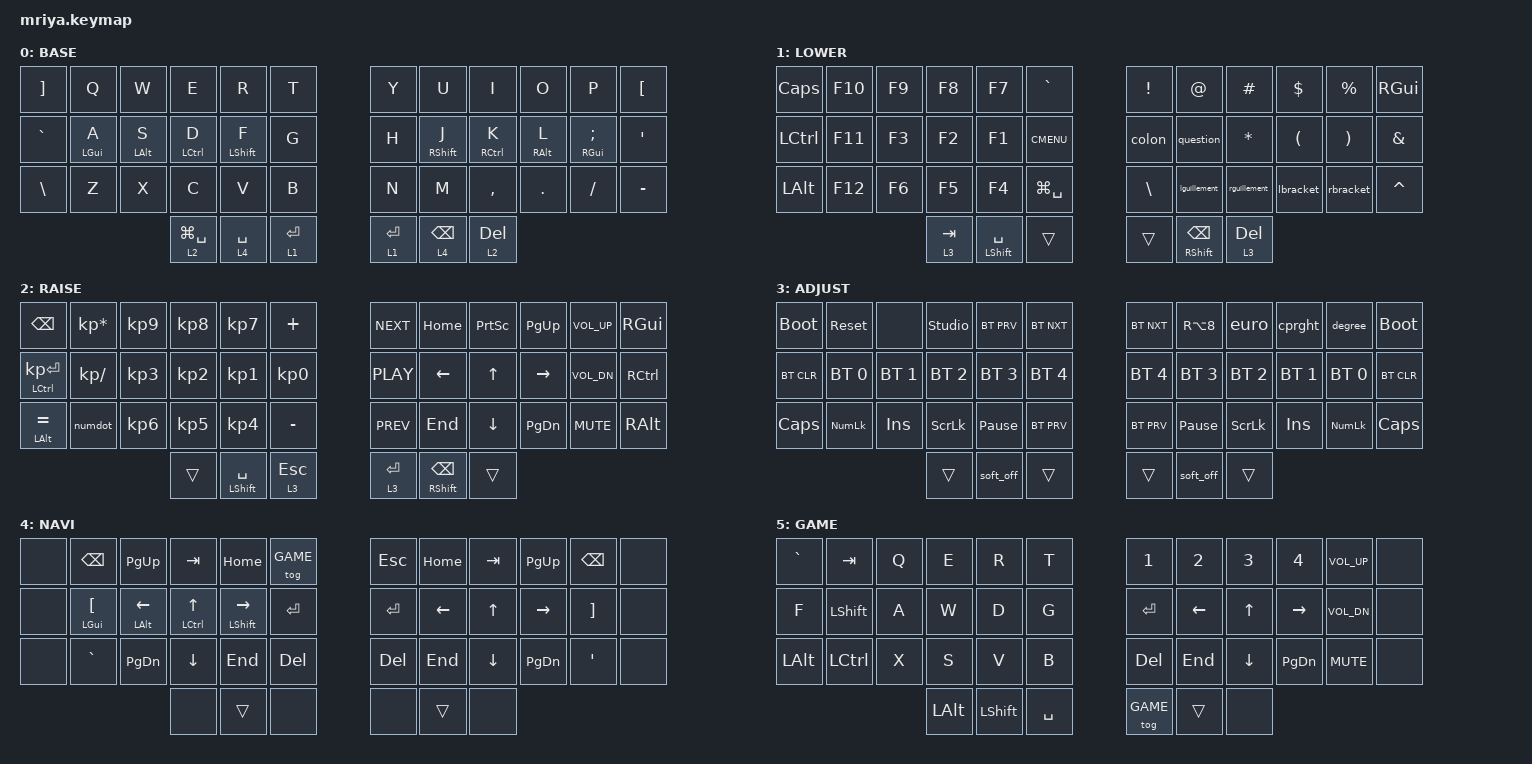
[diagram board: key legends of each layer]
/*
 * Copyright (c) 2020 The ZMK Contributors
 *
 * SPDX-License-Identifier: MIT
 */

#include <behaviors.dtsi>
#include <dt-bindings/zmk/keys.h>
#include <dt-bindings/zmk/bt.h>
#include <dt-bindings/zmk/ext_power.h>

#define BASE   0
#define LOWER  1
#define RAISE  2
#define ADJUST 3
#define NAVI   4
#define GAME   5

&lt {
    flavor = "balanced";
    tapping-term-ms = <220>;
    quick-tap-ms = <175>;
};

&mt {
    flavor = "balanced";
    tapping-term-ms = <280>;
    quick-tap-ms = <175>;
};
/ {
    macros {
        numdot: numdot {
            label = "ZM_numdot";
            compatible = "zmk,behavior-macro";
            #binding-cells = <0>;
            wait-ms = <40>;
            tap-ms = <40>;
            bindings =
                <&macro_press>,
                <&kp LALT>,
                <&macro_tap>,
                <&kp KP_N4 &kp KP_N6>,
                <&macro_release>,
                <&kp LALT>;
        };
        grtsgn: grtsgn {
            label = "ZM_grtsgn";
            compatible = "zmk,behavior-macro";
            #binding-cells = <0>;
            wait-ms = <40>;
            tap-ms = <40>;
            bindings =
                <&macro_press>,
                <&kp LALT>,
                <&macro_tap>,
                <&kp KP_N6 &kp KP_N2>,
                <&macro_release>,
                <&kp LALT>;
        };
          cprght: cprght {
            label = "ZM_cprght";
            compatible = "zmk,behavior-macro";
            #binding-cells = <0>;
            wait-ms = <40>;
            tap-ms = <40>;
            bindings =
                <&macro_press>,
                <&kp LALT>,
                <&macro_tap>,
                <&kp KP_N0 &kp KP_N1 &kp KP_N6 &kp KP_N9>,
                <&macro_release>,
                <&kp LALT>;
        };
        degree: degree {
            label = "ZM_degree";
            compatible = "zmk,behavior-macro";
            #binding-cells = <0>;
            wait-ms = <40>;
            tap-ms = <40>;
            bindings =
                <&macro_press>,
                <&kp LALT>,
                <&macro_tap>,
                <&kp KP_N0 &kp KP_N1 &kp KP_N7 &kp KP_N6>,
                <&macro_release>,
                <&kp LALT>;
        };
        quote: quote {
            label = "ZM_quote";
            compatible = "zmk,behavior-macro";
            #binding-cells = <0>;
            wait-ms = <40>;
            tap-ms = <40>;
            bindings =
                <&macro_press>,
                <&kp LALT>,
                <&macro_tap>,
                <&kp KP_N3 &kp KP_N4>,
                <&macro_release>,
                <&kp LALT>;
        };
	euro: euro {
            label = "ZM_euro";
            compatible = "zmk,behavior-macro";
            #binding-cells = <0>;
            wait-ms = <40>;
            tap-ms = <40>;
            bindings =
                <&macro_press>,
                <&kp LALT>,
                <&macro_tap>,
                <&kp KP_N0 &kp KP_N1 &kp KP_N2 &kp KP_N8>,
                <&macro_release>,
                <&kp LALT>;
	    };
	numcomma: numcomma {
            label = "ZM_numcomma";
            compatible = "zmk,behavior-macro";
            #binding-cells = <0>;
            wait-ms = <40>;
            tap-ms = <40>;
            bindings =
                <&macro_press>,
                <&kp LALT>,
                <&macro_tap>,
                <&kp KP_N4 &kp KP_N4>,
                <&macro_release>,
                <&kp LALT>;
	    };
	lguillement: lguillement {
            label = "ZM_lguillement";
            compatible = "zmk,behavior-macro";
            #binding-cells = <0>;
            wait-ms = <40>;
            tap-ms = <40>;
            bindings =
                <&macro_press>,
                <&kp LALT>,
                <&macro_tap>,
                <&kp KP_N0 &kp KP_N1 &kp KP_N7 &kp KP_N1>,
                <&macro_release>,
                <&kp LALT>;
	    };
	rguillement: rguillement {
            label = "ZM_rguillement";
            compatible = "zmk,behavior-macro";
            #binding-cells = <0>;
            wait-ms = <40>;
            tap-ms = <40>;
            bindings =
                <&macro_press>,
                <&kp LALT>,
                <&macro_tap>,
                <&kp KP_N0 &kp KP_N1 &kp KP_N8 &kp KP_N7>,
                <&macro_release>,
                <&kp LALT>;
	    };
	lbracket: lbracket {
            label = "ZM_lbracket";
            compatible = "zmk,behavior-macro";
            #binding-cells = <0>;
            wait-ms = <40>;
            tap-ms = <40>;
            bindings =
                <&macro_press>,
                <&kp LALT>,
                <&macro_tap>,
                <&kp KP_N1 &kp KP_N2 &kp KP_N3>,
                <&macro_release>,
                <&kp LALT>;
	    };
	rbracket: rbracket {
            label = "ZM_rbracket";
            compatible = "zmk,behavior-macro";
            #binding-cells = <0>;
            wait-ms = <40>;
            tap-ms = <40>;
            bindings =
                <&macro_press>,
                <&kp LALT>,
                <&macro_tap>,
                <&kp KP_N1 &kp KP_N2 &kp KP_N5>,
                <&macro_release>,
                <&kp LALT>;
	    };
	colon: colon {
            label = "ZM_colon";
            compatible = "zmk,behavior-macro";
            #binding-cells = <0>;
            wait-ms = <40>;
            tap-ms = <40>;
            bindings =
                <&macro_press>,
                <&kp LALT>,
                <&macro_tap>,
                <&kp KP_N5 &kp KP_N8>,
                <&macro_release>,
                <&kp LALT>;
	    };
	semicolon: semicolon {
            label = "ZM_semicolon";
            compatible = "zmk,behavior-macro";
            #binding-cells = <0>;
            wait-ms = <40>;
            tap-ms = <40>;
            bindings =
                <&macro_press>,
                <&kp LALT>,
                <&macro_tap>,
                <&kp KP_N5 &kp KP_N9>,
                <&macro_release>,
                <&kp LALT>;
	    };
	question: question {
            label = "ZM_question";
            compatible = "zmk,behavior-macro";
            #binding-cells = <0>;
            wait-ms = <40>;
            tap-ms = <40>;
            bindings =
                <&macro_press>,
                <&kp LALT>,
                <&macro_tap>,
                <&kp KP_N6 &kp KP_N3>,
                <&macro_release>,
                <&kp LALT>;
	    };
         lsqbracket: lsqbracket {
            label = "ZM_lsqbracket";
            compatible = "zmk,behavior-macro";
            #binding-cells = <0>;
            wait-ms = <40>;
            tap-ms = <40>;
            bindings =
                <&macro_press>,
                <&kp LALT>,
                <&macro_tap>,
                <&kp KP_N9 &kp KP_N1>,
                <&macro_release>,
                <&kp LALT>;
	    };
         rsqbracket: rsqbracket {
            label = "ZM_rsqbracket";
            compatible = "zmk,behavior-macro";
            #binding-cells = <0>;
            wait-ms = <40>;
            tap-ms = <40>;
            bindings =
                <&macro_press>,
                <&kp LALT>,
                <&macro_tap>,
                <&kp KP_N9 &kp KP_N3>,
                <&macro_release>,
                <&kp LALT>;
	    };
    };
};

/ {
    combos {
            compatible = "zmk,combos";
            combo_grave {
                timeout-ms = <50>;
                key-positions = <4 5>;
                bindings = <&kp GRAVE>;
        };
            combo_esc_right {
                timeout-ms = <50>;
                key-positions = <31 32>;
                bindings = <&kp ESC>;
        };
            combo_comma {
                timeout-ms = <50>;
                key-positions = <15 16>;
                bindings = <&numcomma>;
        };
            combo_dot {
                timeout-ms = <50>;
                key-positions = <19 20>;
                bindings = <&numdot>;
        };
            combo_esc_left {
                timeout-ms = <50>;
                key-positions = <27 28>;
                bindings = <&kp ESC>;
        };
            combo_equal {
                timeout-ms = <50>;
                key-positions = <3 4>;
                bindings = <&kp EQUAL>;
        };
            combo_lsqbracket {
                timeout-ms = <50>;
                key-positions = <20 21>;
                bindings = <&lsqbracket>;
        };
            combo_rsqbracket {
                timeout-ms = <50>;
                key-positions = <32 33>;
                bindings = <&rsqbracket>;
        };
            combo_numcomma {
                timeout-ms = <50>;
                key-positions = <31 32>;
                bindings = <&numcomma>;
        };
            combo_copy {
                timeout-ms = <50>;
                key-positions = <26 27>;
                bindings = <&kp LC(C)>;
        }; 
            combo_cut {
                timeout-ms = <50>;
                key-positions = <2 3>;
                bindings = <&kp LC(X)>;
        };
            combo_paste {
                timeout-ms = <50>;
                key-positions = <14 15>;
                bindings = <&kp LC(V)>;
        };     
    };
};

/ {
    keymap {
        compatible = "zmk,keymap";
		
// ▄▄▄▄▄▄▄▄▄▄▄▄▄▄▄▄▄▄▄▄▄▄▄▄▄▄▄▄▄▄▄▄▄▄▄▄▄▄▄▄▄▄▄▄▄▄▄▄▄▄▄▄▄▄▄▄▄▄▄▄▄▄▄▄▄▄▄▄▄▄▄▄▄▄▄▄▄▄▄▄▄▄▄▄▄▄▄▄▄▄▄▄▄▄▄▄▄▄▄▄▄▄▄▄▄▄▄▄▄▄▄▄▄▄

	
        base_layer {
// ┌────────────────────────────────────────────┐
label= "BASE"                                   ;
// └────────────────────────────────────────────┘
/*
┌───────┬───────┬───────┬───────┬───────┬───────┐                   ┌───────┬───────┬───────┬───────┬───────┬───────┐
│   ]   │   Q   │   W   │   E   │   R   │   T   │                   │   Y   │   U   │   I   │   O   │   P   │   [   │
├───────┼───────┼───────┼───────┼───────┼───────┤                   ├───────┼───────┼───────┼───────┼───────┼───────┤                      
│   `   │   A   │   S   │   D   │   F   │   G   │                   │   H   │   J   │   K   │   L   │   ;   │   '   │
├───────┼───────┼───────┼───────┼───────┼───────┤                   ├───────┼───────┼───────┼───────┼───────┼───────┤
│   \   │ Z/NAV │   X   │   C   │   V   │   B   │                   │   N   │   M   │   ,   │   .   │   /   │   -   │
└───────┴───────┴───────┴───────┼───────┼───────┼───────┐   ┌───────┼───────┼───────┼───────┴───────┴───────┴───────┘
                                │ RAISE │ SPACE │ LOWER │   │ LOWER │  BKSP │ RAISE │
                                └───────┴───────┴───────┘   └───────┴───────┴───────┘   
*/
bindings = <
	
&kp RBKT   &kp Q        &kp W        &kp E   	       &kp R         &kp T       &kp Y  	 &kp U         &kp I         &kp O       &kp P           &kp LBKT     
&kp GRAVE  &mt LGUI A   &mt LALT S   &mt LCTRL D       &mt LSHFT F   &kp G       &kp H       &mt RSHFT J   &mt RCTRL K   &mt RALT L  &mt RGUI SEMI   &kp SQT
&kp BSLH   &kp Z        &kp X        &kp C   	       &kp V         &kp B       &kp N       &kp M         &kp COMMA     &kp DOT     &kp FSLH        &kp MINUS
				                     &lt 2 LG(SPACE)   &lt 4 SPACE   &lt 1 RET   &lt 1 RET   &lt 4 BSPC    &lt 2 DEL   
            >;
        };
		
// ▄▄▄▄▄▄▄▄▄▄▄▄▄▄▄▄▄▄▄▄▄▄▄▄▄▄▄▄▄▄▄▄▄▄▄▄▄▄▄▄▄▄▄▄▄▄▄▄▄▄▄▄▄▄▄▄▄▄▄▄▄▄▄▄▄▄▄▄▄▄▄▄▄▄▄▄▄▄▄▄▄▄▄▄▄▄▄▄▄▄▄▄▄▄▄▄▄▄▄▄▄▄▄▄▄▄▄▄▄▄▄▄▄▄


        lower_layer {
// ┌────────────────────────────────────────────┐
label= "LOWER"                                  ;
// └────────────────────────────────────────────┘
/*
┌───────┬───────┬───────┬───────┬───────┬───────┐                   ┌───────┬───────┬───────┬───────┬───────┬───────┐
│ CAPS  │  F10  │  F9   │  F8   │  F7   │   ~   │                   │   !   │   @   │   #   │   $   │   %   │ RGUI  │
├───────┼───────┼───────┼───────┼───────┼───────┤                   ├───────┼───────┼───────┼───────┼───────┼───────┤                      
│ CTRL  │  F11  │  F3   │  F2   │  F1   │ MENU  │                   │   :   │   ?   │   *   │   (   │   )   │   &   │
├───────┼───────┼───────┼───────┼───────┼───────┤                   ├───────┼───────┼───────┼───────┼───────┼───────┤
│ LALT  │  F12  │  F6   │  F5   │  F4   │ LANG  │                   │   \   │   «   │   »   │   {   │   }   │   ^   │
└───────┴───────┴───────┴───────┼───────┼───────┼───────┐   ┌───────┼───────┼───────┼───────┴───────┴───────┴───────┘
                                │  ADJ  │ LSHFT │   ▼   │   │   ▼   │ RSHFT │  ADJ  │
                                └───────┴───────┴───────┘   └───────┴───────┴───────┘   
*/
bindings = <

&kp CAPS    &kp F10   &kp F9    &kp F8  	&kp F7    	      &kp GRAVE       &kp EXCL   &kp AT           &kp HASH       &kp DOLLAR   &kp PERCENT   &kp RGUI
&kp LCTRL   &kp F11   &kp F3    &kp F2      &kp F1    	      &kp K_CMENU     &colon     &question        &kp STAR       &kp LPAR     &kp RPAR      &kp AMPS
&kp LALT    &kp F12   &kp F6    &kp F5      &kp F4   	      &kp LG(SPACE)   &kp BSLH   &lguillement     &rguillement   &lbracket    &rbracket     &kp CARET
			                    &lt 3 TAB   &mt LSHFT SPACE   &trans   	      &trans     &mt RSHFT BSPC   &lt 3 DEL
            >;
        };
		
// ▄▄▄▄▄▄▄▄▄▄▄▄▄▄▄▄▄▄▄▄▄▄▄▄▄▄▄▄▄▄▄▄▄▄▄▄▄▄▄▄▄▄▄▄▄▄▄▄▄▄▄▄▄▄▄▄▄▄▄▄▄▄▄▄▄▄▄▄▄▄▄▄▄▄▄▄▄▄▄▄▄▄▄▄▄▄▄▄▄▄▄▄▄▄▄▄▄▄▄▄▄▄▄▄▄▄▄▄▄▄▄▄▄▄		

        raise_layer {
// ┌────────────────────────────────────────────┐
label= "RAISE"                                  ;
// └────────────────────────────────────────────┘
/*
┌───────┬───────┬───────┬───────┬───────┬───────┐                   ┌───────┬───────┬───────┬───────┬───────┬───────┐
│ BKSP  │   *   │   9   │   8   │   7   │   +   │                   │ NEXT  │ VOLU  │ PSCRN │       │       │ RGUI  │
├───────┼───────┼───────┼───────┼───────┼───────┤                   ├───────┼───────┼───────┼───────┼───────┼───────┤                      
│ CTRL  │   /   │   3   │   2   │   1   │   0   │                   │ PLAY  │ VOLD  │       │       │       │ CTRL  │
├───────┼───────┼───────┼───────┼───────┼───────┤                   ├───────┼───────┼───────┼───────┼───────┼───────┤
│ ALT/= │   .   │   6   │   5   │   4   │   -   │                   │ PREV  │ MUTE  │       │       │       │ RALT  │
└───────┴───────┴───────┴───────┼───────┼───────┼───────┐   ┌───────┼───────┼───────┼───────┴───────┴───────┴───────┘
                                │   ▲   │ LSHFT │  ADJ  │   │  ADJ  │ RSHFT │   ▲   │
                                └───────┴───────┴───────┘   └───────┴───────┴───────┘  
*/
bindings = <

&kp BSPC             &kp KP_MULTIPLY   &kp KP_N9   &kp KP_N8   &kp KP_N7         &kp PLUS    &kp C_NEXT   &kp HOME         &kp PSCRN   &kp PG_UP   &kp C_VOL_UP   &kp RGUI
&mt LCTRL KP_ENTER   &kp KP_SLASH      &kp KP_N3   &kp KP_N2   &kp KP_N1         &kp KP_N0   &kp C_PLAY   &kp LEFT         &kp UP      &kp RIGHT   &kp C_VOL_DN   &kp RCTRL 
&mt LALT EQUAL       &numdot 	       &kp KP_N6   &kp KP_N5   &kp KP_N4         &kp MINUS   &kp C_PREV   &kp END          &kp DOWN    &kp PG_DN   &kp C_MUTE     &kp RALT
				                                   &trans      &mt LSHFT SPACE   &lt 3 ESC   &lt 3 RET    &mt RSHFT BSPC   &trans
            >;
        };

// ▄▄▄▄▄▄▄▄▄▄▄▄▄▄▄▄▄▄▄▄▄▄▄▄▄▄▄▄▄▄▄▄▄▄▄▄▄▄▄▄▄▄▄▄▄▄▄▄▄▄▄▄▄▄▄▄▄▄▄▄▄▄▄▄▄▄▄▄▄▄▄▄▄▄▄▄▄▄▄▄▄▄▄▄▄▄▄▄▄▄▄▄▄▄▄▄▄▄▄▄▄▄▄▄▄▄▄▄▄▄▄▄▄▄

        adjust_layer {
// ┌────────────────────────────────────────────┐
label= "ADJUST"                                 ;
// └────────────────────────────────────────────┘
/*
┌───────┬───────┬───────┬───────┬───────┬───────┐                   ┌───────┬───────┬───────┬───────┬───────┬───────┐
│ BLDR  │ RESET │       │STUDIO │       │BT NEXT│                   │BT NEXT│   ₽   │   €   │       │       │  BLDR │
├───────┼───────┼───────┼───────┼───────┼───────┤                   ├───────┼───────┼───────┼───────┼───────┼───────┤                      
│ BTCLR │  BT0  │  BT1  │  BT2  │  BT3  │  BT4  │                   │  BT4  │  BT3  │  BT2  │  BT1  │  BT0  │ BTCLR │
├───────┼───────┼───────┼───────┼───────┼───────┤                   ├───────┼───────┼───────┼───────┼───────┼───────┤
│ CAPS  │ NUMLK │  INS  │ SLCK  │ PAUSE │BT PREV│                   │BT PREV│ PAUSE │ SLCK  │  INS  │ NUMLK │ CAPS  │
└───────┴───────┴───────┴───────┼───────┼───────┼───────┐   ┌───────┼───────┼───────┼───────┴───────┴───────┴───────┘
                                │   ▲   │ POWER │   ▼   │   │   ▼   │ POWER │   ▲   │
                                └───────┴───────┴───────┘   └───────┴───────┴───────┘
*/
bindings = <

&bootloader   &sys_reset     &none          &studio_unlock   &bt BT_PRV        &bt BT_NXT     &bt BT_NXT    &kp RA(N8)        &euro          &cprght        &degree        &bootloader
&bt BT_CLR    &bt BT_SEL 0   &bt BT_SEL 1   &bt BT_SEL 2     &bt BT_SEL 3      &bt BT_SEL 4   &bt BT_SEL 4  &bt BT_SEL 3      &bt BT_SEL 2   &bt BT_SEL 1   &bt BT_SEL 0   &bt BT_CLR
&kp CAPS      &kp KP_NUM     &kp INS        &kp SLCK         &kp PAUSE_BREAK   &bt BT_PRV     &bt BT_PRV    &kp PAUSE_BREAK   &kp SLCK       &kp INS        &kp KP_NUM     &kp CAPS
					                        &trans           &soft_off         &trans         &trans        &soft_off         &trans
            >;
        };

// ▄▄▄▄▄▄▄▄▄▄▄▄▄▄▄▄▄▄▄▄▄▄▄▄▄▄▄▄▄▄▄▄▄▄▄▄▄▄▄▄▄▄▄▄▄▄▄▄▄▄▄▄▄▄▄▄▄▄▄▄▄▄▄▄▄▄▄▄▄▄▄▄▄▄▄▄▄▄▄▄▄▄▄▄▄▄▄▄▄▄▄▄▄▄▄▄▄▄▄▄▄▄▄▄▄▄▄▄▄▄▄▄▄▄		

        navi_layer {
// ┌────────────────────────────────────────────┐
label= "NAVI"                                   ;
// └────────────────────────────────────────────┘
/*
┌───────┬───────┬───────┬───────┬───────┬───────┐                   ┌───────┬───────┬───────┬───────┬───────┬───────┐
│       │  BKSP │ PGUP  │  TAB  │ HOME  │ GAME  │                   │  ESC  │ HOME  │  TAB  │ PGUP  │  BKSP │       │
├───────┼───────┼───────┼───────┼───────┼───────┤                   ├───────┼───────┼───────┼───────┼───────┼───────┤                      
│       │   ]   │   ←   │   ↑   │   →   │ ENTER │                   │ ENTER │   ←   │   ↑   │   →   │   [   │       │
├───────┼───────┼───────┼───────┼───────┼───────┤                   ├───────┼───────┼───────┼───────┼───────┼───────┤
│       │   `   │ PGDN  │   ↓   │  END  │  DEL  │                   │  DEL  │  END  │   ↓   │ PGDN  │   '   │       │
└───────┴───────┴───────┴───────┼───────┼───────┼───────┐   ┌───────┼───────┼───────┼───────┴───────┴───────┴───────┘
                                │       │       │       │   │       │       │       │
                                └───────┴───────┴───────┘   └───────┴───────┴───────┘  
*/
bindings = <

&none   &kp BSPC        &kp PG_UP       &kp TAB        &kp HOME          &tog GAME   &kp ESC   &kp HOME   &kp TAB    &kp PG_UP   &kp BSPC   &none
&none   &mt LGUI LBKT   &mt LALT LEFT   &mt LCTRL UP   &mt LSHFT RIGHT   &kp RET     &kp RET   &kp LEFT   &kp UP     &kp RIGHT   &kp RBKT   &none 
&none   &kp GRAVE       &kp PG_DN       &kp DOWN       &kp END           &kp DEL     &kp DEL   &kp END    &kp DOWN   &kp PG_DN   &kp SQT    &none
				                        &none          &trans            &none       &none     &trans     &none
            >;
        };
    
// ▄▄▄▄▄▄▄▄▄▄▄▄▄▄▄▄▄▄▄▄▄▄▄▄▄▄▄▄▄▄▄▄▄▄▄▄▄▄▄▄▄▄▄▄▄▄▄▄▄▄▄▄▄▄▄▄▄▄▄▄▄▄▄▄▄▄▄▄▄▄▄▄▄▄▄▄▄▄▄▄▄▄▄▄▄▄▄▄▄▄▄▄▄▄▄▄▄▄▄▄▄▄▄▄▄▄▄▄▄▄▄▄▄▄		

        game_layer {
// ┌────────────────────────────────────────────┐
label= "GAME"                                   ;
// └────────────────────────────────────────────┘
/*
┌───────┬───────┬───────┬───────┬───────┬───────┐                   ┌───────┬───────┬───────┬───────┬───────┬───────┐
│   `   │  TAB  │   Q   │   E   │   R   │   T   │                   │   1   │   2   │   3   │   4   │   V+  │       │
├───────┼───────┼───────┼───────┼───────┼───────┤                   ├───────┼───────┼───────┼───────┼───────┼───────┤                      
│   F   │ LSHFT │   A   │   W   │   D   │   G   │                   │ ENTER │   ←   │   ↑   │   →   │   V-  │       │
├───────┼───────┼───────┼───────┼───────┼───────┤                   ├───────┼───────┼───────┼───────┼───────┼───────┤
│ LALT  │ LCTRL │   X   │   S   │   V   │   B   │                   │  DEL  │  END  │   ↓   │ PGDN  │  MUTE │       │
└───────┴───────┴───────┴───────┼───────┼───────┼───────┐   ┌───────┼───────┼───────┼───────┴───────┴───────┴───────┘
                                │  LALT │ LSHFT │ SPACE │   │       │       │       │
                                └───────┴───────┴───────┘   └───────┴───────┴───────┘  
*/
bindings = <

&kp GRAVE   &kp TAB     &kp Q   &kp E      &kp R       &kp T       &kp N1     &kp N2     &kp N3     &kp N4      &kp C_VOL_UP   &none
&kp F       &kp LSHFT   &kp A   &kp W      &kp D       &kp G       &kp RET    &kp LEFT   &kp UP     &kp RIGHT   &kp C_VOL_DN   &none 
&kp LALT    &kp LCTRL   &kp X   &kp S      &kp V       &kp B       &kp DEL    &kp END    &kp DOWN   &kp PG_DN   &kp C_MUTE     &none
				                &kp LALT   &kp LSHFT   &kp SPACE   &tog GAME  &trans     &none
            >;
        };    
    };
};
